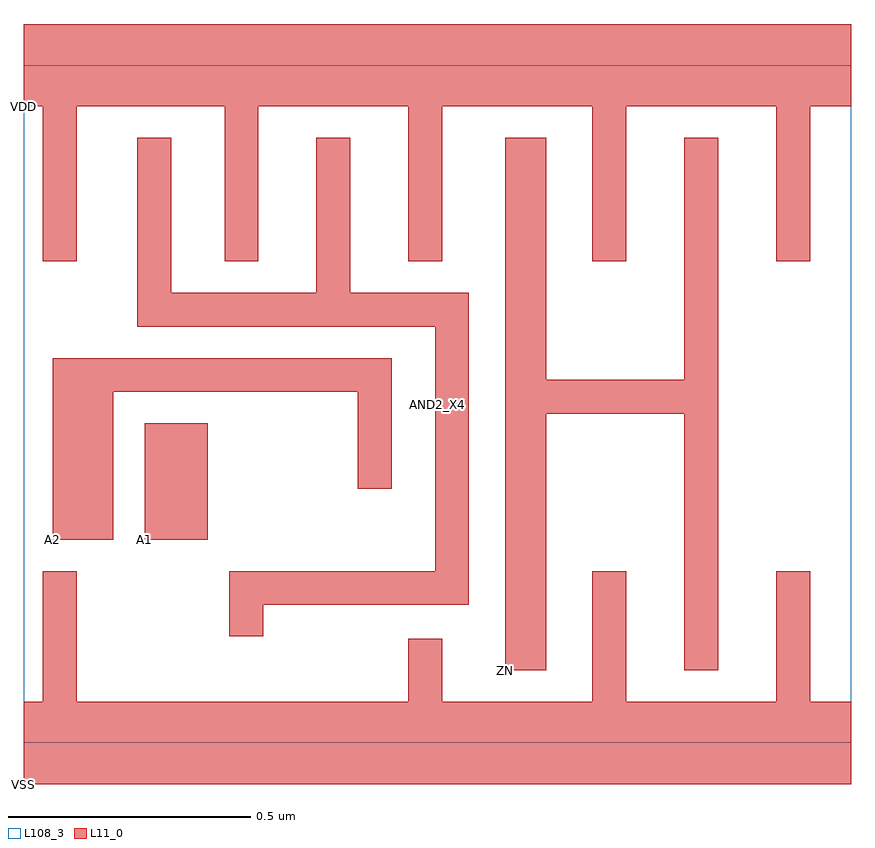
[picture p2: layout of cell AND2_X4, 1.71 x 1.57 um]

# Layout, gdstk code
import gdstk
lib = gdstk.Library(unit=1e-6, precision=1e-09)
def R(c, l, rs):  # rectangles x0, y0, x1, y1
    for r in rs: c.add(gdstk.rectangle(r[:2], r[2:], *l))
def P(c, l, *ps):  # polygons
    for p in ps: c.add(gdstk.Polygon(p, *l))
L11_0 = (11, 0)
L108_3 = (108, 3)

and2_x4 = lib.new_cell('AND2_X4')
R(and2_x4, L11_0, [(0.25,0.42,0.38,0.66)])
P(and2_x4, L11_0, [(0.06,0.42),(0.185,0.42),(0.185,0.725),(0.69,0.725),(0.69,0.525),(0.76,0.525),(0.76,0.795),(0.06,0.795)],
  [(0.995,0.15),(1.08,0.15),(1.08,0.68),(1.365,0.68),(1.365,0.15),(1.435,0.15),(1.435,1.25),(1.365,1.25),(1.365,0.75),(1.08,0.75),(1.08,1.25),(0.995,1.25)],
  [(0,1.315),(0.04,1.315),(0.04,0.995),(0.11,0.995),(0.11,1.315),(0.415,1.315),(0.415,0.995),(0.485,0.995),(0.485,1.315),(0.795,1.315),(0.795,0.995),(0.865,0.995),(0.865,1.315),(0.92,1.315),(1.175,1.315),(1.175,0.995),(1.245,0.995),(1.245,1.315),(1.555,1.315),(1.555,0.995),(1.625,0.995),(1.625,1.315),(1.71,1.315),(1.71,1.485),(0.92,1.485),(0,1.485)],
  [(0,-0.085),(1.71,-0.085),(1.71,0.085),(1.625,0.085),(1.625,0.355),(1.555,0.355),(1.555,0.085),(1.245,0.085),(1.245,0.355),(1.175,0.355),(1.175,0.085),(0.865,0.085),(0.865,0.215),(0.795,0.215),(0.795,0.085),(0.11,0.085),(0.11,0.355),(0.04,0.355),(0.04,0.085),(0,0.085)],
  [(0.235,0.86),(0.85,0.86),(0.85,0.355),(0.425,0.355),(0.425,0.22),(0.495,0.22),(0.495,0.285),(0.92,0.285),(0.92,0.93),(0.675,0.93),(0.675,1.25),(0.605,1.25),(0.605,0.93),(0.305,0.93),(0.305,1.25),(0.235,1.25)])
R(and2_x4, L108_3, [(0,0,1.71,1.4)])
and2_x4.add(gdstk.Label('AND2_X4', (0.855,0.7), layer=108, texttype=3))
and2_x4.add(gdstk.Label('A1', (0.25,0.42), layer=11, texttype=0))
and2_x4.add(gdstk.Label('A2', (0.06,0.42), layer=11, texttype=0))
and2_x4.add(gdstk.Label('ZN', (0.995,0.15), layer=11, texttype=0))
and2_x4.add(gdstk.Label('VDD', (0,1.315), layer=11, texttype=0))
and2_x4.add(gdstk.Label('VSS', (0,-0.085), layer=11, texttype=0))

lib.write_gds('AND2_X4.gds')
